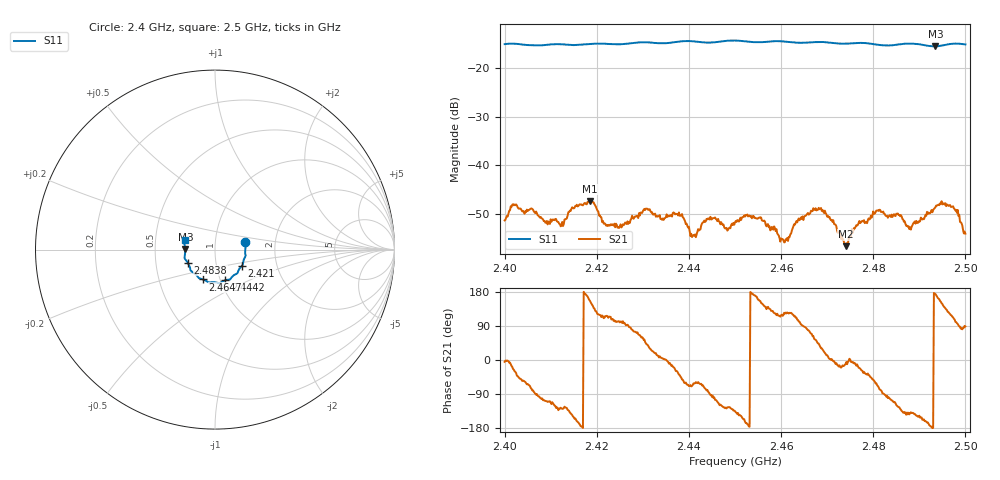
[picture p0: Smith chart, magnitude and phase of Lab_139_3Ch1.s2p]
# Hz S RI R
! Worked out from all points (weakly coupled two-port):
!   601 points, 2.4 GHz to 2.5 GHz, reference 50 ohm
!   highest |S21| = -47.24 dB at 2.4185 GHz (marker M1); lowest = -56.5 dB at 2.474 GHz (marker M2)
!   lowest |S11| = -15.7 dB at 2.4935 GHz (marker M3), VSWR 1.39, Z = 35.8 + j0.194 ohm
!   |S11| at or under -10 dB: start of sweep to end of sweep
!   S12 and S22 are empty: the file has one direction only
!   S11 on the Smith chart (normalised r, x): 2.4 GHz: 1.40, +0.12; 2.421 GHz: 1.33, -0.24; 2.4442 GHz: 1.05, -0.37; 2.4647 GHz: 0.83, -0.28; 2.4838 GHz: 0.73, -0.11; 2.5 GHz: 0.71, +0.08
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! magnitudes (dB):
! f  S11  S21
! 2.4 GHz  -15.2  -51.2
! 2.4022 GHz  -15.1  -48.0
! 2.4123 GHz  -15.2  -52.3
! 2.4167 GHz  -15.3  -48.0
! 2.4185 GHz  -15.2  -47.2
! 2.421 GHz  -15.1  -50.6
! 2.4333 GHz  -15.0  -50.4
! 2.4383 GHz  -14.7  -50.2
! 2.4412 GHz  -14.7  -54.3
! 2.4442 GHz  -14.9  -50.8
! 2.45 GHz  -14.5  -51.6
! 2.4552 GHz  -14.8  -50.7
! 2.461 GHz  -14.7  -55.1
! 2.4647 GHz  -14.9  -50.4
! 2.4667 GHz  -14.8  -49.3
! 2.474 GHz  -15.1  -56.5
! 2.4833 GHz  -15.5  -50.4
! 2.4838 GHz  -15.5  -50.5
! 2.488 GHz  -15.1  -52.6
! 2.4935 GHz  -15.7  -48.5
! 2.4975 GHz  -15.1  -48.8
! 2.5 GHz  -15.3  -53.9
